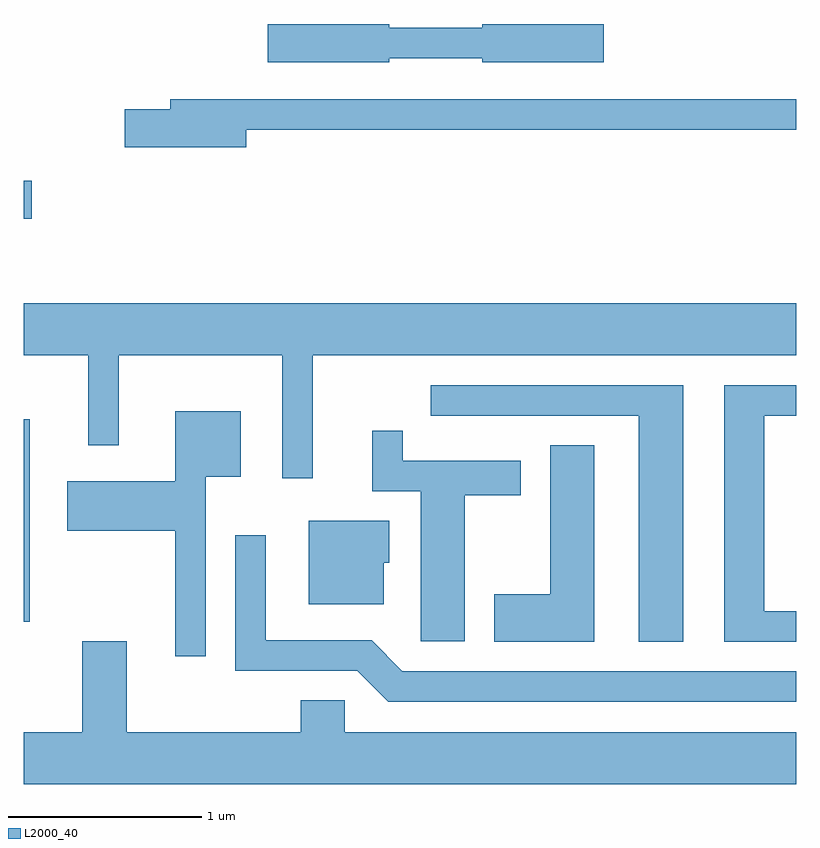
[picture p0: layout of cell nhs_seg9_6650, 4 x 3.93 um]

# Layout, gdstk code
import gdstk
lib = gdstk.Library(unit=1e-6, precision=1e-09)
def R(c, l, rs):  # rectangles x0, y0, x1, y1
    for r in rs: c.add(gdstk.rectangle(r[:2], r[2:], *l))
def P(c, l, *ps):  # polygons
    for p in ps: c.add(gdstk.Polygon(p, *l))
L2000_40 = (2000, 40)

nhs_seg9_6650 = lib.new_cell('nhs_seg9_6650')
R(nhs_seg9_6650, L2000_40, [(381.611,1999.316,381.644,2000.364), (381.611,2001.401,381.654,2001.599)])
P(nhs_seg9_6650, L2000_40, [(383.504,2002.231),(383.986,2002.231),(383.986,2002.211),(384.614,2002.211),(384.614,2002.409),(383.986,2002.409),(383.986,2002.389),(383.504,2002.389),(383.504,2002.409),(382.876,2002.409),(382.876,2002.211),(383.504,2002.211)],
  [(382.764,2001.861),(385.611,2001.861),(385.611,2002.019),(382.371,2002.019),(382.371,2001.969),(382.136,2001.969),(382.136,2001.771),(382.764,2001.771)],
  [(383.109,2000.696),(385.611,2000.696),(385.611,2000.964),(381.611,2000.964),(381.611,2000.696),(381.946,2000.696),(381.946,2000.228),(382.104,2000.228),(382.104,2000.696),(382.951,2000.696),(382.951,2000.058),(383.109,2000.058)],
  [(385.611,1999.369),(385.444,1999.369),(385.444,2000.381),(385.611,2000.381),(385.611,2000.539),(385.236,2000.539),(385.236,1999.211),(385.611,1999.211)],
  [(385.024,2000.539),(383.718,2000.539),(383.718,2000.381),(384.796,2000.381),(384.796,1999.211),(385.024,1999.211)],
  [(382.554,2000.066),(382.734,2000.066),(382.734,2000.404),(382.396,2000.404),(382.396,2000.044),(381.836,2000.044),(381.836,1999.786),(382.396,1999.786),(382.396,1999.138),(382.554,1999.138)],
  [(383.894,1999.971),(384.184,1999.971),(384.184,2000.149),(383.574,2000.149),(383.574,2000.303),(383.416,2000.303),(383.416,1999.991),(383.666,1999.991),(383.666,1999.216),(383.894,1999.216)],
  [(384.564,2000.229),(384.336,2000.229),(384.336,1999.459),(384.046,1999.459),(384.046,1999.211),(384.564,1999.211)],
  [(383.474,1999.621),(383.504,1999.621),(383.504,1999.839),(383.086,1999.839),(383.086,1999.406),(383.474,1999.406)],
  [(385.611,1999.059),(383.572,1999.059),(383.412,1999.219),(382.864,1999.219),(382.864,1999.763),(382.706,1999.763),(382.706,1999.061),(383.339,1999.061),(383.499,1998.901),(385.611,1998.901)],
  [(385.611,1998.744),(383.274,1998.744),(383.274,1998.909),(383.046,1998.909),(383.046,1998.744),(382.144,1998.744),(382.144,1999.214),(381.916,1999.214),(381.916,1998.744),(381.611,1998.744),(381.611,1998.476),(385.611,1998.476)])

lib.write_gds('nhs_seg9_6650.gds')
